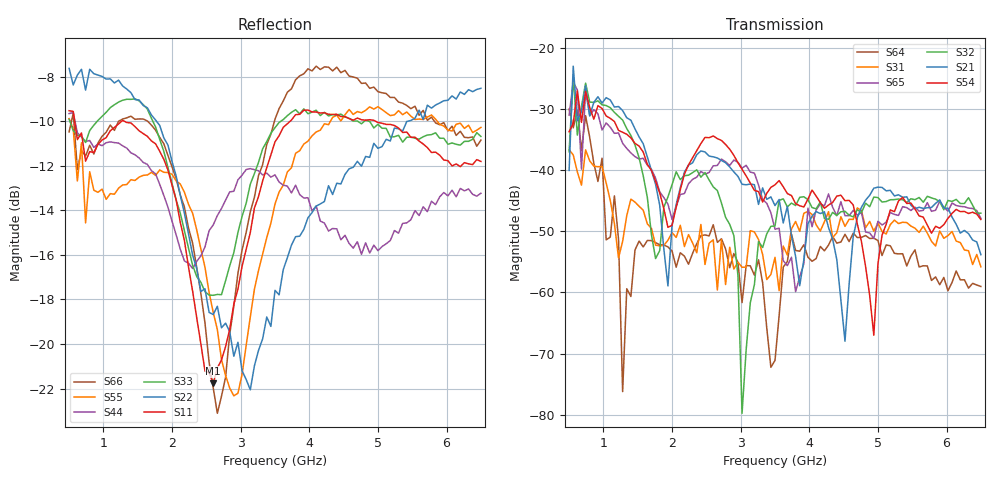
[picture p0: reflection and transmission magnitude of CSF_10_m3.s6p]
!Keysight Technologies,M9804A,MY58100912,A.14.10.03
!Date: Thursday, April 27, 2023 10:28:33
!Correction: S11(C  6-Port  )
!S12(C  6-Port  )
!S13(C  6-Port  )
!S14(C  6-Port  )
!S15(C  6-Port  )
!S16(C  6-Port  )
!S21(C  6-Port  )
!S22(C  6-Port  )
!S23(C  6-Port  )
!S24(C  6-Port  )
!S25(C  6-Port  )
!S26(C  6-Port  )
!S31(C  6-Port  )
!S32(C  6-Port  )
!S33(C  6-Port  )
!S34(C  6-Port  )
!S35(C  6-Port  )
!S36(C  6-Port  )
!S41(C  6-Port  )
!S42(C  6-Port  )
!S43(C  6-Port  )
!S44(C  6-Port  )
!S45(C  6-Port  )
!S46(C  6-Port  )
!S51(C  6-Port  )
!S52(C  6-Port  )
!S53(C  6-Port  )
!S54(C  6-Port  )
!S55(C  6-Port  )
!S56(C  6-Port  )
!S61(C  6-Port  )
!S62(C  6-Port  )
!S63(C  6-Port  )
!S64(C  6-Port  )
!S65(C  6-Port  )
!S66(C  6-Port  )
!S6P File: Measurement: :
# Hz S  RI  R 50
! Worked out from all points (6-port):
!   101 points, 500 MHz to 6.5 GHz, reference 50 ohm
!   strongest paths, dB at 500 MHz, 2 GHz, 3.5 GHz, 5 GHz, 6.5 GHz:
!     S54: -33.7, -49.0, -42.4, -55.3, -48.1
!     S21: -40.1, -49.0, -45.8, -42.8, -53.8
!     S32: -37.0, -42.4, -49.1, -44.5, -47.0
!     S65: -31.0, -48.1, -49.7, -48.4, -47.9
!     S31: -36.7, -50.2, -54.3, -48.6, -55.8
!     S64: -30.0, -53.2, -71.1, -51.5, -59.0
!   lowest |S11| = -21.8 dB at 2.6 GHz (marker M1), VSWR 1.18, Z = 42.7 + j1.95 ohm
!   |S11| at or under -10 dB: 581 MHz to 1.265 GHz (683.9 MHz wide, 74.1 % of centre); 1.305 GHz to 3.72 GHz (2.414 GHz wide, 96.1 % of centre); 4.967 GHz to end of sweep
